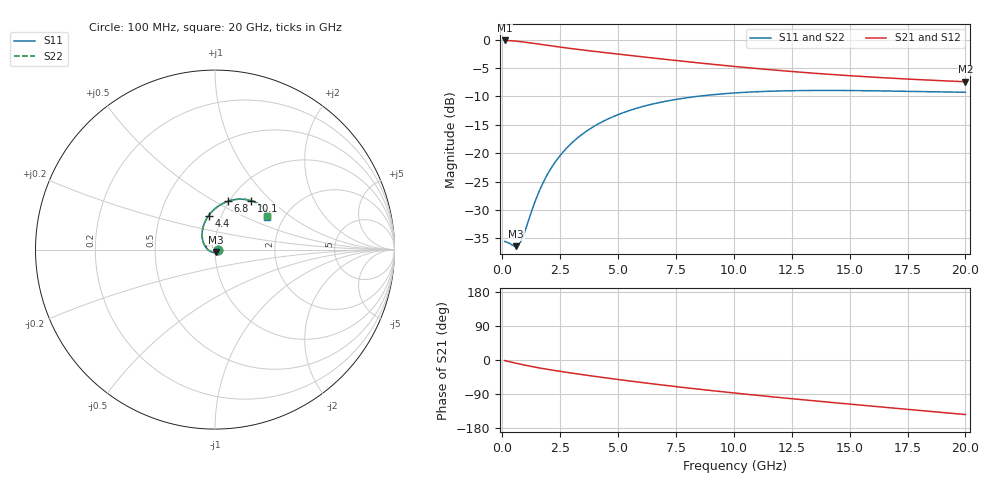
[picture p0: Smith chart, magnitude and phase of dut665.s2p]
! Touchstone file exported from HFSS 2024.1.0
!  File:  C:/UserFiles/LocalFiles/RDL_TSV_Batchsim/temp_RDL_TSV_665_1779812913.aedt
!  Generated:  12:42:58 AM May 27, 2026
!  Design:  RDL_TSV
!  Project:  temp_RDL_TSV_665_1779812913
!  Setup:  Setup1
!  Solution:  Sweep
! Variables:
!  dtsv = 14.45um
!  hbump = 3um
!  htsv = 66.65um
!  ldown = 191.02um
!  lrdl = 296.42um
!  p = 40
!  p1 = 54.48um
!  rhole = 10um
!  subl = 1758.74um
!  t = 450um
!  tdown = 3.13um
!  trdl = 2um
!  viad = 10um
!  wdown = 27.74um
!  wrdl = 14.87um
!  xbump = 18um
# GHz S MA R 50.000000
! Terminal data exported
! Port[1] = TM1_1_T1
! Port[2] = TM1_4_T1
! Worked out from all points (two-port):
!   200 points, 100 MHz to 20 GHz, reference 50 ohm
!   highest |S21| = -0.15 dB at 100 MHz (marker M1); lowest = -7.4 dB at 20 GHz (marker M2)
!   |S21| within 3 dB of the highest: start of sweep to 6.308 GHz
!   lowest |S11| = -36.4 dB at 600 MHz (marker M3), VSWR 1.03, Z = 50.4 - j1.47 ohm
!   |S11| at or under -10 dB: start of sweep to 8.417 GHz
!   |S22| runs from -36.4 to -9.0 dB; largest |S21 - S12| = 9.2e-15
!   S11 on the Smith chart (normalised r, x): 100 MHz: 1.03, -0.01; 4.4 GHz: 0.87, +0.34; 6.8 GHz: 0.99, +0.58; 10.1 GHz: 1.25, +0.77; 20 GHz: 1.64, +0.69
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0.1  0.01669 -9.8  0.9827 -1.5  0.9827 -1.5  0.01669 -9.8
! Gamma 0 0 0 0
! Port Impedance 50 0 50 0
0.6  0.01518 -74.2  0.9683 -8.6  0.9683 -8.6  0.01517 -74.2
0.7  0.01558 -91.0  0.9637 -10.0  0.9637 -10.0  0.01557 -91.0
0.8  0.01667 -107.8  0.9588 -11.3  0.9588 -11.3  0.01667 -107.8
0.9  0.01854 -123.4  0.9534 -12.6  0.9534 -12.6  0.01854 -123.5
1.3  0.0323 -167.8  0.9299 -17.5  0.9299 -17.5  0.0323 -167.9
1.5  0.04156 178.2  0.9175 -19.8  0.9175 -19.8  0.04157 178.1
1.7  0.05168 167.1  0.9051 -22.0  0.9051 -22.0  0.05169 167.1
2  0.06778 154.1  0.887 -25.1  0.887 -25.1  0.06778 154.1
2.3  0.08438 143.7  0.8696 -28.1  0.8696 -28.1  0.08439 143.6
2.7  0.1066 132.4  0.8478 -31.9  0.8478 -31.9  0.1066 132.3
3.1  0.1284 123.0  0.8276 -35.5  0.8276 -35.5  0.1284 123.0
3.5  0.1493 115.1  0.8087 -39.0  0.8087 -39.0  0.1494 115.1
4.4  0.1927 100.7  0.7694 -46.6  0.7694 -46.6  0.1927 100.7
5.5  0.2378 87.1  0.7257 -55.4  0.7257 -55.4  0.2378 87.1
6.8  0.2796 74.7  0.6783 -65.2  0.6783 -65.2  0.2796 74.6
8.3  0.3141 63.5  0.629 -75.8  0.629 -75.8  0.3141 63.5
10.1  0.3398 53.3  0.5781 -87.6  0.5781 -87.6  0.3397 53.3
11.7  0.3517 46.4  0.5402 -97.4  0.5402 -97.4  0.3517 46.4
13.4  0.3566 40.8  0.5068 -107.4  0.5068 -107.4  0.3565 40.8
16.7  0.3525 34.3  0.4584 -125.8  0.4584 -125.8  0.3523 34.3
20  0.3437 32.4  0.4255 -143.9  0.4255 -143.9  0.3436 32.5
